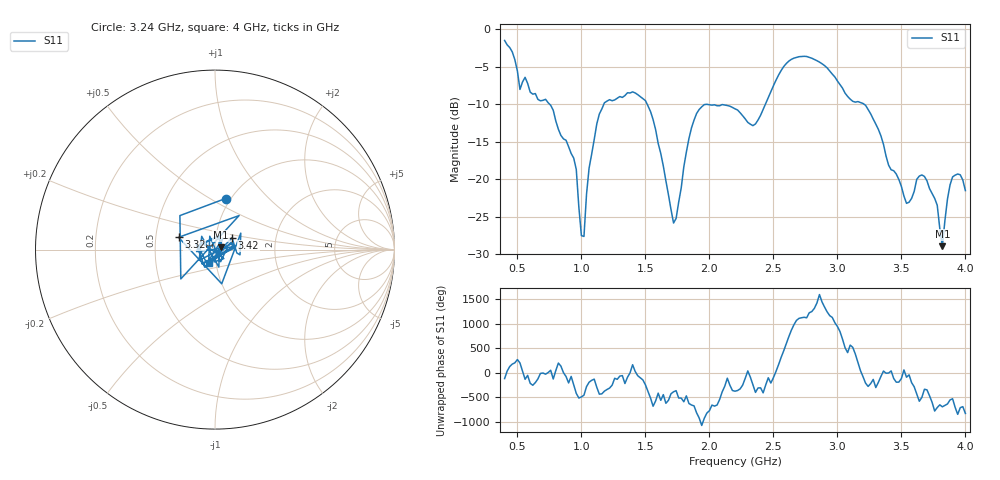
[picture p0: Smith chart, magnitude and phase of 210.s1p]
!Created with skrf (http://scikit-rf.org).
# Hz S RI R 50.0
!freq ReS11 ImS11
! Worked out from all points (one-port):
!   181 points, 400 MHz to 4 GHz, reference 50 ohm
!   lowest |S11| = -29.0 dB at 3.82 GHz (marker M1), VSWR 1.07, Z = 53.4 + j1.36 ohm
!   |S11| at or under -10 dB: 750.5 MHz to 1.176 GHz (425.3 MHz wide, 44.2 % of centre); 1.513 GHz to 2.438 GHz (925 MHz wide, 46.8 % of centre); 3.207 GHz to end of sweep
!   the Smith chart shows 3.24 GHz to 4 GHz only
!   S11 on the Smith chart (normalised r, x): 3.24 GHz: 0.95, +0.59; 3.32 GHz: 0.66, +0.09; 3.42 GHz: 1.20, +0.16; 4 GHz: 0.92, -0.14
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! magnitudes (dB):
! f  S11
! 400 MHz  -1.5
! 520 MHz  -8.1
! 720 MHz  -9.4
! 860 MHz  -14.6
! 960 MHz  -18.7
! 1 GHz  -27.5
! 1.02 GHz  -27.7
! 1.06 GHz  -18.5
! 1.14 GHz  -11.3
! 1.3 GHz  -9.0
! 1.5 GHz  -9.5
! 1.58 GHz  -13.4
! 1.72 GHz  -25.9
! 1.76 GHz  -23.1
! 1.9 GHz  -11.3
! 2.2 GHz  -10.6
! 2.36 GHz  -12.6
! 2.66 GHz  -3.9
! 3.1 GHz  -9.3
! 3.24 GHz  -10.7
! 3.32 GHz  -13.4
! 3.42 GHz  -18.8
! 3.56 GHz  -23.1
! 3.68 GHz  -19.7
! 3.78 GHz  -23.5
! 3.82 GHz  -29.0
! 3.9 GHz  -19.7
! 4 GHz  -21.5
